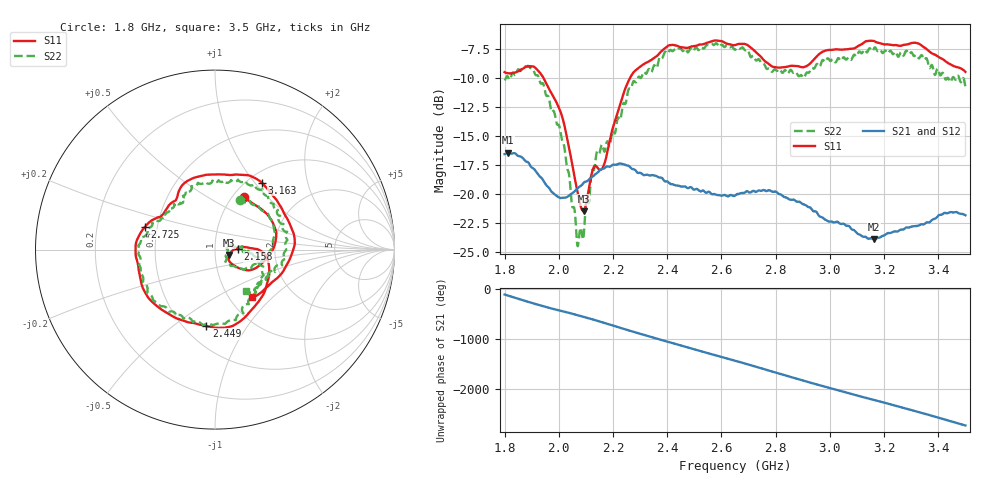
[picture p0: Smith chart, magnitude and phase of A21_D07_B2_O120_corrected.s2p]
! Created with skrf 1.9.0 (http://scikit-rf.org).
# Hz S RI R 50.0
!freq ReS11 ImS11 ReS21 ImS21 ReS12 ImS12 ReS22 ImS22
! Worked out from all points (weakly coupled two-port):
!   1601 points, 1.8 GHz to 3.5 GHz, reference 50 ohm
!   highest |S21| = -16.44 dB at 1.812 GHz (marker M1); lowest = -23.9 dB at 3.162 GHz (marker M2)
!   lowest |S11| = -21.5 dB at 2.091 GHz (marker M3), VSWR 1.18, Z = 58.5 - j3.53 ohm
!   |S11| at or under -10 dB: 1.943 GHz to 2.263 GHz (319.5 MHz wide, 15.2 % of centre)
!   |S22| runs from -24.5 to -7.0 dB; largest |S21 - S12| = 0.0028
!   S11 on the Smith chart (normalised r, x): 1.8 GHz: 1.13, +0.74; 2.158 GHz: 1.29, +0.01; 2.449 GHz: 0.64, -0.66; 2.725 GHz: 0.43, +0.13; 3.163 GHz: 1.15, +1.09; 3.5 GHz: 1.27, -0.76
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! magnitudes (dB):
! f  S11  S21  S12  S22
! 1.8 GHz  -9.5  -16.6  -16.6  -10.2
! 1.812 GHz  -9.6  -16.4  -16.4  -9.9
! 1.885 GHz  -9.0  -17.2  -17.3  -9.0
! 1.942 GHz  -10.0  -18.8  -18.8  -10.5
! 2.013 GHz  -13.3  -20.3  -20.3  -15.4
! 2.067 GHz  -19.6  -19.5  -19.5  -24.0
! 2.084 GHz  -21.2  -19.2  -19.2  -23.1
! 2.091 GHz  -21.5  -19.0  -19.1  -23.7
! 2.127 GHz  -17.8  -18.4  -18.4  -17.9
! 2.158 GHz  -17.9  -17.8  -17.8  -15.8
! 2.259 GHz  -10.2  -17.6  -17.6  -10.9
! 2.367 GHz  -8.0  -18.5  -18.5  -8.6
! 2.449 GHz  -7.4  -19.3  -19.3  -7.5
! 2.65 GHz  -7.2  -20.1  -20.1  -7.6
! 2.725 GHz  -7.7  -19.8  -19.8  -8.4
! 2.799 GHz  -9.1  -19.8  -19.8  -9.3
! 2.934 GHz  -8.6  -21.3  -21.3  -9.1
! 3.162 GHz  -6.8  -23.9  -23.8  -7.5
! 3.163 GHz  -6.8  -23.9  -23.8  -7.4
! 3.217 GHz  -7.1  -23.3  -23.3  -7.8
! 3.324 GHz  -7.0  -22.7  -22.7  -8.2
! 3.5 GHz  -9.5  -21.8  -21.8  -10.8
